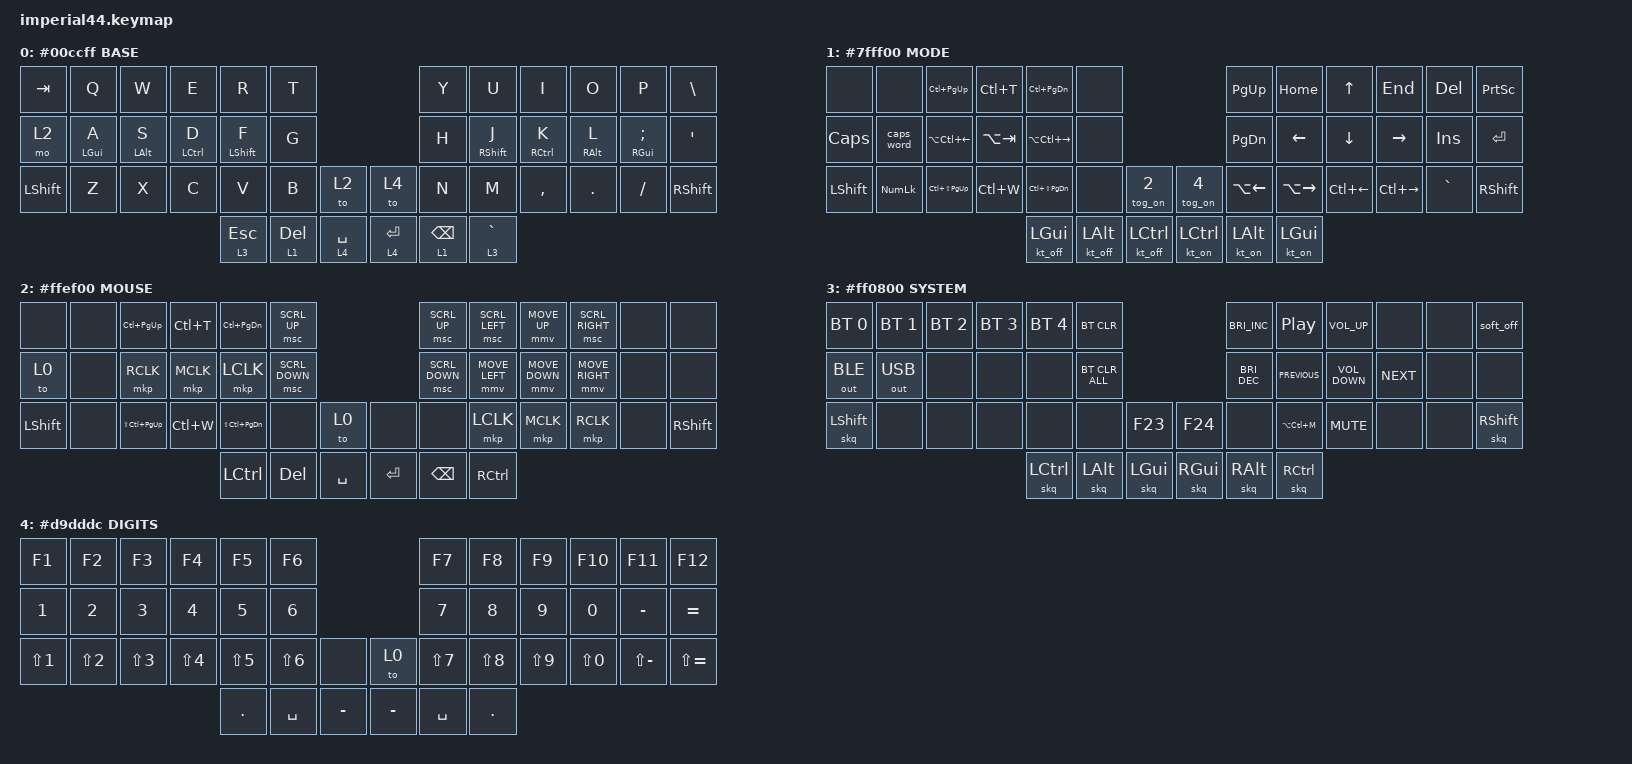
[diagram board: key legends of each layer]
#include "keys_ru.h"

#define ZMK_POINTING_DEFAULT_MOVE_VAL 1500  // default: 600
#define ZMK_POINTING_DEFAULT_SCRL_VAL 20    // default: 10

#include <behaviors.dtsi>
#include <dt-bindings/zmk/bt.h>
#include <dt-bindings/zmk/keys.h>
#include <dt-bindings/zmk/outputs.h>
#include <dt-bindings/zmk/pointing.h>

&mt {
    flavor = "tap-preferred";
    require-prior-idle-ms = <125>;
    quick-tap-ms = <200>;
};

&caps_word { continue-list = <UNDERSCORE MINUS BACKSPACE DELETE LEFT RIGHT>; };

/ {
    behaviors {
        hml: home_row_mod_left {
            compatible = "zmk,behavior-hold-tap";
            #binding-cells = <2>;
            flavor = "balanced";
            require-prior-idle-ms = <150>;
            tapping-term-ms = <280>;
            quick-tap-ms = <175>;
            bindings = <&kp>, <&kp>;

            hold-trigger-key-positions = <6 7 8 9 10 11 18 19 20 21 22 23 31 32 33 34 35 36 37 41 42 43>;
            hold-trigger-on-release;
        };

        hmr: home_row_mod_right {
            compatible = "zmk,behavior-hold-tap";
            #binding-cells = <2>;
            flavor = "balanced";
            require-prior-idle-ms = <150>;
            tapping-term-ms = <280>;
            quick-tap-ms = <175>;
            bindings = <&kp>, <&kp>;

            hold-trigger-key-positions = <0 1 2 3 4 5 12 13 14 15 16 17 24 25 26 27 28 29 30 38 39 40>;
            hold-trigger-on-release;
        };

        mo_tog: behavior_mo_tog {
            compatible = "zmk,behavior-hold-tap";
            #binding-cells = <2>;
            flavor = "hold-preferred";
            tapping-term-ms = <200>;
            bindings = <&mo>, <&tog>;
        };

        tog_on: toggle_layer_on_only {
            compatible = "zmk,behavior-toggle-layer";
            #binding-cells = <1>;
            display-name = "Toggle Layer On";
            toggle-mode = "on";
        };

        skq: sticky_key_quick_release {
            compatible = "zmk,behavior-sticky-key";
            #binding-cells = <1>;
            bindings = <&kp>;
            release-after-ms = <5000>;
            quick-release;
            ignore-modifiers;
        };

        kt_on: key_toggle_on_only {
            compatible = "zmk,behavior-key-toggle";
            #binding-cells = <1>;
            display-name = "Key Toggle On";
            toggle-mode = "on";
        };

        kt_off: key_toggle_off_only {
            compatible = "zmk,behavior-key-toggle";
            #binding-cells = <1>;
            display-name = "Key Toggle On";
            toggle-mode = "off";
        };
    };

    combos {
        compatible = "zmk,combos";

        left_bracket {
            bindings = <&kp LEFT_BRACKET>;
            key-positions = <7 8>;
            layers = <0>;
            timeout-ms = <50>;
        };

        right_bracket {
            bindings = <&kp RIGHT_BRACKET>;
            key-positions = <8 9>;
            timeout-ms = <50>;
            layers = <0>;
        };
    };

    keymap {
        compatible = "zmk,keymap";

        base {
            bindings = <
&kp TAB    &kp Q        &kp W        &kp E         &kp R         &kp T                                     &kp Y            &kp U         &kp I         &kp O        &kp P           &kp BSLH
&mo 2      &hml LGUI A  &hml LALT S  &hml LCTRL D  &hml LSHFT F  &kp G                                     &kp H            &hmr RSHFT J  &hmr RCTRL K  &hmr RALT L  &hmr RGUI SEMI  &kp SINGLE_QUOTE
&kp LSHFT  &kp Z        &kp X        &kp C         &kp V         &kp B         &to 2          &to 4        &kp N            &kp M         &kp COMMA     &kp DOT      &kp SLASH       &kp RSHFT
                                                   &lt 3 ESC     &lt 1 DELETE  &lt 4 SPACE    &lt 4 ENTER  &lt 1 BACKSPACE  &lt 3 GRAVE
            >;

            display-name = "#00ccff BASE";
        };

        mode {
            bindings = <
&none      &none           &kp LC(PG_UP)      &kp LC(T)    &kp LC(PAGE_DOWN)      &none                                                   &kp PG_UP           &kp HOME             &kp UP        &kp END          &kp DELETE  &kp PRINTSCREEN
&kp CAPS   &caps_word      &kp LA(LC(LEFT))   &kp LA(TAB)  &kp LA(LC(RIGHT))      &none                                                   &kp PAGE_DOWN       &kp LEFT             &kp DOWN      &kp RIGHT_ARROW  &kp INSERT  &kp ENTER
&kp LSHFT  &kp KP_NUMLOCK  &kp LC(LS(PG_UP))  &kp LC(W)    &kp LC(LS(PAGE_DOWN))  &none             &tog_on 2               &tog_on 4     &kp LA(LEFT_ARROW)  &kp LA(RIGHT_ARROW)  &kp LC(LEFT)  &kp LC(RIGHT)    &kp GRAVE   &kp RIGHT_SHIFT
                                                           &kt_off LEFT_GUI       &kt_off LEFT_ALT  &kt_off LEFT_CONTROL    &kt_on LCTRL  &kt_on LEFT_ALT     &kt_on LEFT_GUI
            >;

            display-name = "#7fff00 MODE";
        };

        mouse {
            bindings = <
&none           &none  &kp LC(PG_UP)      &kp LC(T)  &kp LC(PAGE_DOWN)      &msc SCRL_UP                            &msc SCRL_UP    &msc SCRL_LEFT  &mmv MOVE_UP    &msc SCRL_RIGHT  &none  &none
&to 0           &none  &mkp RCLK          &mkp MCLK  &mkp LCLK              &msc SCRL_DOWN                          &msc SCRL_DOWN  &mmv MOVE_LEFT  &mmv MOVE_DOWN  &mmv MOVE_RIGHT  &none  &none
&kp LEFT_SHIFT  &none  &kp LS(LC(PG_UP))  &kp LC(W)  &kp LS(LC(PAGE_DOWN))  &none           &to 0        &none      &none           &mkp LCLK       &mkp MCLK       &mkp RCLK        &none  &kp RIGHT_SHIFT
                                                     &kp LCTRL              &kp DELETE      &kp SPACE    &kp ENTER  &kp BACKSPACE   &kp RCTRL
            >;

            display-name = "#ffef00 MOUSE";
        };

        system {
            bindings = <
&bt BT_SEL 0     &bt BT_SEL 1  &bt BT_SEL 2  &bt BT_SEL 3  &bt BT_SEL 4  &bt BT_CLR                                       &kp C_BRIGHTNESS_INC  &kp C_PLAY_PAUSE    &kp C_VOLUME_UP    &none       &none  &soft_off
&out OUT_BLE     &out OUT_USB  &none         &none         &none         &bt BT_CLR_ALL                                   &kp C_BRIGHTNESS_DEC  &kp C_PREVIOUS      &kp C_VOLUME_DOWN  &kp C_NEXT  &none  &none
&skq LEFT_SHIFT  &none         &none         &none         &none         &none           &kp F23          &kp F24         &none                 &kp LA(LC(M))       &kp C_MUTE         &none       &none  &skq RIGHT_SHIFT
                                                           &skq LCTRL    &skq LEFT_ALT   &skq LEFT_GUI    &skq RIGHT_GUI  &skq RIGHT_ALT        &skq RIGHT_CONTROL
            >;

            display-name = "#ff0800 SYSTEM";
        };

        digits {
            bindings = <
&kp F1      &kp F2            &kp F3            &kp F4            &kp F5            &kp F6                                    &kp F7            &kp F8            &kp F9            &kp F10           &kp F11        &kp F12
&kp N1      &kp NUMBER_2      &kp NUMBER_3      &kp NUMBER_4      &kp NUMBER_5      &kp NUMBER_6                              &kp NUMBER_7      &kp NUMBER_8      &kp NUMBER_9      &kp NUMBER_0      &kp MINUS      &kp EQUAL
&kp LS(N1)  &kp LS(NUMBER_2)  &kp LS(NUMBER_3)  &kp LS(NUMBER_4)  &kp LS(NUMBER_5)  &kp LS(NUMBER_6)  &none        &to 0      &kp LS(NUMBER_7)  &kp LS(NUMBER_8)  &kp LS(NUMBER_9)  &kp LS(NUMBER_0)  &kp LS(MINUS)  &kp LS(EQUAL)
                                                                  &kp DOT           &kp SPACE         &kp MINUS    &kp MINUS  &kp SPACE         &kp DOT
            >;

            display-name = "#d9dddc DIGITS";
        };
    };
};
